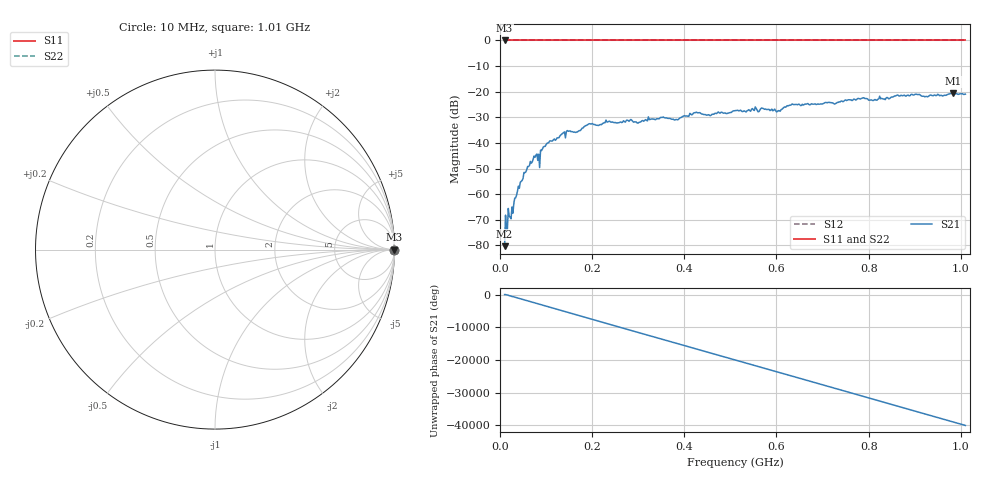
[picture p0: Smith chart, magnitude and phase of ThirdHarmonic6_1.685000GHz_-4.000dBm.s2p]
! 8/16/2025 8:13:29 PM
! C:\ANRITSUVNA\TEMP\TEMP.S2P
! CHANNEL.1
! TR.MEASUREMENT
! RAW.DATA
! RF.CORRECTION.OFF
! AVERAGING.OFF
! IF.BANDWIDTH: 5KHZ
! SWEEPTYPE:  FREQ.SWEEP(Linear)
! Reference Plane Port Info
! PORT:  PORT1  PORT2
! DISTANCE:  0  m  0  m
! TIME:  0  s  0  s
! PHASE.OFFSET:  0  deg.  0  deg.
! LOSS:  0  dB  0  dB
! REF.LOSS:  0  dB  0  dB
! REF.FREQ:  0  Hz  0  Hz
! Power Info
! POWER:  -20  dBm  -20  dBm
! EFF.POWER:  -20  dBm  -20  dBm
! SOURCE.ATTEN:  0  dB  0  dB
! TEST.ATTEN:  0  dB  0  dB
# GHZ S RI R 50.0
! FREQ.GHZ  S11RE  S11IM  S21RE  S21IM  S12RE  S12IM  S22RE  S22IM
!; PortSelection: Port_12
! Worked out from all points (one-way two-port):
!   501 points, 10 MHz to 1.01 GHz, reference 50 ohm
!   highest |S21| = -20.64 dB at 984 MHz (marker M1); lowest = -80.3 dB at 10 MHz (marker M2)
!   lowest |S11| = 0.0 dB at 10 MHz (marker M3)
!   |S11| at or under -10 dB: nowhere
!   |S22| runs from 0.0 to 0.0 dB; largest |S21 - S12| = 1.1
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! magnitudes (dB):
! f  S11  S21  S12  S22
! 10 MHz  0.0  -80.3  0.0  0.0
! 16 MHz  0.0  -73.7  0.0  0.0
! 26 MHz  0.0  -65.0  0.0  0.0
! 42 MHz  0.0  -57.7  0.0  0.0
! 56 MHz  0.0  -51.4  0.0  0.0
! 76 MHz  0.0  -45.6  0.0  0.0
! 82 MHz  0.0  -46.8  0.0  0.0
! 98 MHz  0.0  -41.4  0.0  0.0
! 136 MHz  0.0  -36.3  0.0  0.0
! 178 MHz  0.0  -34.3  0.0  0.0
! 234 MHz  0.0  -31.8  0.0  0.0
! 344 MHz  0.0  -30.6  0.0  0.0
! 382 MHz  0.0  -30.8  0.0  0.0
! 424 MHz  0.0  -28.2  0.0  0.0
! 454 MHz  0.0  -29.1  0.0  0.0
! 510 MHz  0.0  -27.4  0.0  0.0
! 604 MHz  0.0  -27.4  0.0  0.0
! 632 MHz  0.0  -25.1  0.0  0.0
! 678 MHz  0.0  -24.8  0.0  0.0
! 844 MHz  0.0  -22.8  0.0  0.0
! 984 MHz  0.0  -20.6  0.0  0.0
! 1.01 GHz  0.0  -20.9  0.0  0.0
